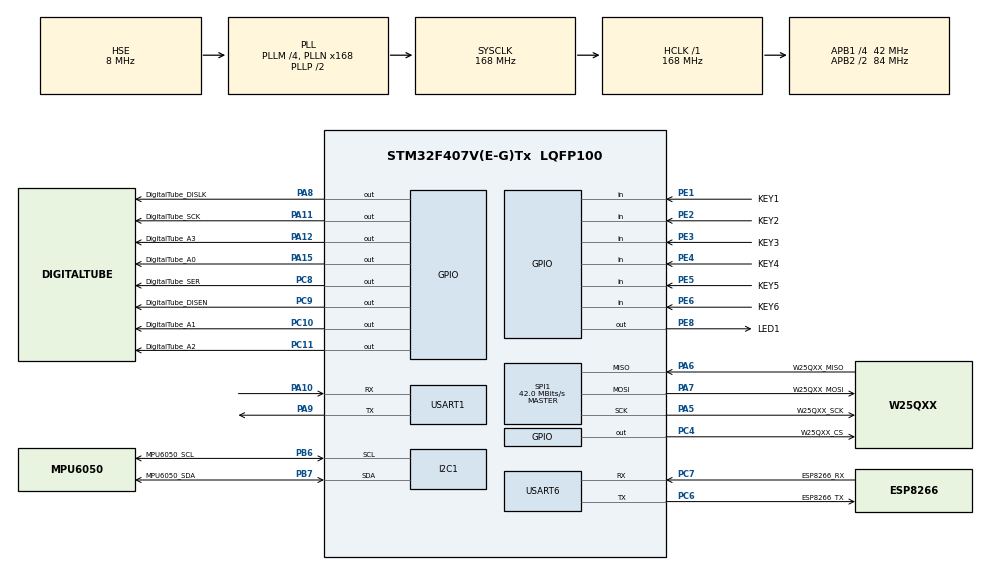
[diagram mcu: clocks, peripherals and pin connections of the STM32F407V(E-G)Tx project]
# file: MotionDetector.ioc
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FATFS._MAX_SS=4096
FREERTOS.HEAP_NUMBER=3
FREERTOS.Tasks01=MainTask,32,256,StartMainTask,Default,NULL,Dynamic,NULL,NULL;KeyTask,24,2048,StartKeyTask,Default,NULL,Dynamic,NULL,NULL;DigitaTubeTask,32,256,StartDigitaTubeTask,Default,NULL,Dynamic,NULL,NULL;RTCTask,24,256,StartRTCTask,Default,NULL,Dynamic,NULL,NULL;SaveTask,24,2048,StartSaveTask,Default,NULL,Dynamic,NULL,NULL
FREERTOS.configTOTAL_HEAP_SIZE=80000
Mcu.Family=STM32F4
Mcu.Name=STM32F407V(E-G)Tx
Mcu.Package=LQFP100
NVIC.PriorityGroup=NVIC_PRIORITYGROUP_4
NVIC.TIM3_IRQn=true\:5\:0\:false\:false\:true\:true\:true\:true
NVIC.TIM8_TRG_COM_TIM14_IRQn=true\:0\:0\:false\:false\:true\:false\:false\:true
NVIC.TimeBase=TIM8_TRG_COM_TIM14_IRQn
NVIC.TimeBaseIP=TIM14
NVIC.USART6_IRQn=true\:5\:0\:false\:false\:true\:true\:true\:true
PA10.Mode=Asynchronous
PA10.Signal=USART1_RX
PA11.GPIO_Label=DigitalTube_SCK
PA11.Signal=GPIO_Output
PA12.GPIO_Label=DigitalTube_A3
PA12.Signal=GPIO_Output
PA13.Mode=Serial_Wire
PA13.Signal=SYS_JTMS-SWDIO
PA14.Mode=Serial_Wire
PA14.Signal=SYS_JTCK-SWCLK
PA15.GPIO_Label=DigitalTube_A0
PA15.Signal=GPIO_Output
PA5.GPIO_Label=W25QXX_SCK
PA5.Mode=Full_Duplex_Master
PA5.Signal=SPI1_SCK
PA6.GPIO_Label=W25QXX_MISO
PA6.Mode=Full_Duplex_Master
PA6.Signal=SPI1_MISO
PA7.GPIO_Label=W25QXX_MOSI
PA7.Mode=Full_Duplex_Master
PA7.Signal=SPI1_MOSI
PA8.GPIO_Label=DigitalTube_DISLK
PA8.Signal=GPIO_Output
PA9.Mode=Asynchronous
PA9.Signal=USART1_TX
PB6.GPIO_Label=MPU6050_SCL
PB6.Mode=I2C
PB6.Signal=I2C1_SCL
PB7.GPIO_Label=MPU6050_SDA
PB7.Mode=I2C
PB7.Signal=I2C1_SDA
PC10.GPIO_Label=DigitalTube_A1
PC10.Signal=GPIO_Output
PC11.GPIO_Label=DigitalTube_A2
PC11.Signal=GPIO_Output
PC14-OSC32_IN.Mode=LSE-External-Oscillator
PC14-OSC32_IN.Signal=RCC_OSC32_IN
PC15-OSC32_OUT.Mode=LSE-External-Oscillator
PC15-OSC32_OUT.Signal=RCC_OSC32_OUT
PC4.GPIO_Label=W25QXX_CS
PC4.Signal=GPIO_Output
PC6.GPIO_Label=ESP8266_TX
PC6.Mode=Asynchronous
PC6.Signal=USART6_TX
PC7.GPIO_Label=ESP8266_RX
PC7.Mode=Asynchronous
PC7.Signal=USART6_RX
PC8.GPIO_Label=DigitalTube_SER
PC8.Signal=GPIO_Output
PC9.GPIO_Label=DigitalTube_DISEN
PC9.Signal=GPIO_Output
PE1.GPIO_Label=KEY1
PE1.GPIO_PuPd=GPIO_PULLUP
PE1.Signal=GPIO_Input
PE2.GPIO_Label=KEY2
PE2.GPIO_PuPd=GPIO_PULLUP
PE2.Signal=GPIO_Input
PE3.GPIO_Label=KEY3
PE3.GPIO_PuPd=GPIO_PULLUP
PE3.Signal=GPIO_Input
PE4.GPIO_Label=KEY4
PE4.GPIO_PuPd=GPIO_PULLUP
PE4.Signal=GPIO_Input
PE5.GPIO_Label=KEY5
PE5.GPIO_PuPd=GPIO_PULLDOWN
PE5.Signal=GPIO_Input
PE6.GPIO_Label=KEY6
PE6.GPIO_PuPd=GPIO_PULLDOWN
PE6.Signal=GPIO_Input
PE8.GPIO_Label=LED1
PE8.PinState=GPIO_PIN_SET
PE8.Signal=GPIO_Output
PH0-OSC_IN.Mode=HSE-External-Oscillator
PH0-OSC_IN.Signal=RCC_OSC_IN
PH1-OSC_OUT.Mode=HSE-External-Oscillator
PH1-OSC_OUT.Signal=RCC_OSC_OUT
ProjectManager.HeapSize=0x4000
ProjectManager.StackSize=0x4000
ProjectManager.TargetToolchain=STM32CubeIDE
RCC.48MHZClocksFreq_Value=84000000
RCC.AHBFreq_Value=168000000
RCC.APB1CLKDivider=RCC_HCLK_DIV4
RCC.APB1Freq_Value=42000000
RCC.APB1TimFreq_Value=84000000
RCC.APB2CLKDivider=RCC_HCLK_DIV2
RCC.APB2Freq_Value=84000000
RCC.APB2TimFreq_Value=168000000
RCC.CortexFreq_Value=168000000
RCC.HCLKFreq_Value=168000000
RCC.HSE_VALUE=8000000
RCC.HSI_VALUE=16000000
RCC.PLLM=4
RCC.PLLN=168
RCC.PLLSourceVirtual=RCC_PLLSOURCE_HSE
RCC.RCC_RTC_Clock_Source=RCC_RTCCLKSOURCE_LSE
RCC.RCC_RTC_Clock_SourceVirtual=RCC_RTCCLKSOURCE_LSE
RCC.SYSCLKFreq_VALUE=168000000
RCC.SYSCLKSource=RCC_SYSCLKSOURCE_PLLCLK
RCC.VCOOutputFreq_Value=336000000
RTC.Date=19
RTC.Format=RTC_FORMAT_BIN
RTC.Hours=1
RTC.Minutes=5
RTC.Month=RTC_MONTH_DECEMBER
RTC.WeekDay=RTC_WEEKDAY_SATURDAY
RTC.Year=20
SPI1.CalculateBaudRate=42.0 MBits/s
SPI1.Direction=SPI_DIRECTION_2LINES
SPI1.Mode=SPI_MODE_MASTER
SPI1.VirtualType=VM_MASTER
TIM3.Period=10000-1
TIM3.Prescaler=84-1
USART1.VirtualMode=VM_ASYNC
USART6.VirtualMode=VM_ASYNC
VP_FATFS_VS_Generic.Mode=User_defined
VP_FREERTOS_VS_CMSIS_V2.Mode=CMSIS_V2
VP_RTC_VS_RTC_Activate.Mode=RTC_Enabled
VP_RTC_VS_RTC_Calendar.Mode=RTC_Calendar
VP_SYS_VS_tim14.Mode=TIM14
VP_TIM3_VS_ClockSourceINT.Mode=Internal
board=custom

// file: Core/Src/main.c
/* USER CODE BEGIN Header */
/**
  ******************************************************************************
  * @file           : main.c
  * @brief          : Main program body
  ******************************************************************************
  * @attention
  *
  * <h2><center>&copy; Copyright (c) 2020 STMicroelectronics.
  * All rights reserved.</center></h2>
  *
  * This software component is licensed by ST under Ultimate Liberty license
  * SLA0044, the "License"; You may not use this file except in compliance with
  * the License. You may obtain a copy of the License at:
  *                             www.st.com/SLA0044
  *
  ******************************************************************************
  */
/* USER CODE END Header */
#include "main.h"
#include "cmsis_os.h"
#include "fatfs.h"
#include "i2c.h"
#include "rtc.h"
#include "spi.h"
#include "tim.h"
#include "usart.h"
#include "gpio.h"

/* USER CODE BEGIN Includes */
#include <stdbool.h>
#include <stdio.h>
/* USER CODE END Includes */

/* USER CODE BEGIN PV */
uint32_t g_time_count = 0;//单位：百分秒
/* USER CODE END PV */

void SystemClock_Config(void);
void MX_FREERTOS_Init(void);

/* USER CODE BEGIN 0 */
void FS_Init(bool breset) //breset=true就重新生成新的文件
{
    BYTE work[4096]; // FATFS工作缓冲区
    FATFS fs;//文件系统对象
    FIL fil;//文件对象
    FRESULT res;//操作返回结果

    res = f_mount(&fs, "0:", 1);
    if (res == 0X0D) { // FLASH磁盘,FAT文件系统错误，重新格式化FLASH
        printf("Flash Disk Formatting...\r\n");//格式化FLASH
        res = f_mkfs("0:", FM_ANY, 0, work, sizeof(work));
        if (res != FR_OK) {
            printf("mkfs error.\r\n");
        }
    }
    if (res == FR_OK) {
        printf("FATFS Init ok!\r\n");
    }

    if (breset) {
        res = f_open(&fil, "0:/time.txt", FA_CREATE_ALWAYS);
    } else {
        res = f_open(&fil, "0:/time.txt", FA_CREATE_NEW);
    }
    if (res != FR_OK && res != FR_EXIST) {
        printf("create file error.\r\n");
    } else {
        printf("create time.txt ok\r\n");
        f_close(&fil);
    }

    if (breset) {
        res = f_open(&fil, "0:/para.txt", FA_CREATE_ALWAYS);
    } else {
        res = f_open(&fil, "0:/para.txt", FA_CREATE_NEW);
    }
    if (res != FR_OK && res != FR_EXIST) {
        printf("create file error.\r\n");
    } else {
        printf("create para.txt ok\r\n");
        f_close(&fil);
    }

    if (breset) {
        res = f_open(&fil, "0:/data.txt", FA_CREATE_ALWAYS);
    } else {
        res = f_open(&fil, "0:/data.txt", FA_CREATE_NEW);
    }
    if (res != FR_OK && res != FR_EXIST) {
        printf("create file error.\r\n");
    } else {
        printf("create data.txt ok\r\n");
        f_close(&fil);
    }
}
/* USER CODE END 0 */

int main(void)
{

  /* MCU Configuration--------------------------------------------------------*/

  /* Reset of all peripherals, Initializes the Flash interface and the Systick. */
  HAL_Init();

  /* Configure the system clock */
  SystemClock_Config();

  /* Initialize all configured peripherals */
  MX_GPIO_Init();
  MX_I2C1_Init();
  MX_USART1_UART_Init();
  MX_USART6_UART_Init();
  MX_TIM3_Init();
  MX_RTC_Init();
  MX_SPI1_Init();
  MX_FATFS_Init();
  /* USER CODE BEGIN 2 */
    HAL_Delay(1000);
    FS_Init(false);
  /* USER CODE END 2 */

  /* Init scheduler */
  osKernelInitialize();  /* Call init function for freertos objects (in freertos.c) */
  MX_FREERTOS_Init();
  /* Start scheduler */
  osKernelStart();

  /* We should never get here as control is now taken by the scheduler */
  /* Infinite loop */
    while (1)
    {

    }
}

void SystemClock_Config(void)
{
  RCC_OscInitTypeDef RCC_OscInitStruct = {0};
  RCC_ClkInitTypeDef RCC_ClkInitStruct = {0};
  RCC_PeriphCLKInitTypeDef PeriphClkInitStruct = {0};

  /** Configure the main internal regulator output voltage
  */
  __HAL_RCC_PWR_CLK_ENABLE();
  __HAL_PWR_VOLTAGESCALING_CONFIG(PWR_REGULATOR_VOLTAGE_SCALE1);
  /** Initializes the RCC Oscillators according to the specified parameters
  * in the RCC_OscInitTypeDef structure.
  */
  RCC_OscInitStruct.OscillatorType = RCC_OSCILLATORTYPE_HSE|RCC_OSCILLATORTYPE_LSE;
  RCC_OscInitStruct.HSEState = RCC_HSE_ON;
  RCC_OscInitStruct.LSEState = RCC_LSE_ON;
  RCC_OscInitStruct.PLL.PLLState = RCC_PLL_ON;
  RCC_OscInitStruct.PLL.PLLSource = RCC_PLLSOURCE_HSE;
  RCC_OscInitStruct.PLL.PLLM = 4;
  RCC_OscInitStruct.PLL.PLLN = 168;
  RCC_OscInitStruct.PLL.PLLP = RCC_PLLP_DIV2;
  RCC_OscInitStruct.PLL.PLLQ = 4;
  if (HAL_RCC_OscConfig(&RCC_OscInitStruct) != HAL_OK)
  {
    Error_Handler();
  }
  /** Initializes the CPU, AHB and APB buses clocks
  */
  RCC_ClkInitStruct.ClockType = RCC_CLOCKTYPE_HCLK|RCC_CLOCKTYPE_SYSCLK
                              |RCC_CLOCKTYPE_PCLK1|RCC_CLOCKTYPE_PCLK2;
  RCC_ClkInitStruct.SYSCLKSource = RCC_SYSCLKSOURCE_PLLCLK;
  RCC_ClkInitStruct.AHBCLKDivider = RCC_SYSCLK_DIV1;
  RCC_ClkInitStruct.APB1CLKDivider = RCC_HCLK_DIV4;
  RCC_ClkInitStruct.APB2CLKDivider = RCC_HCLK_DIV2;

  if (HAL_RCC_ClockConfig(&RCC_ClkInitStruct, FLASH_LATENCY_5) != HAL_OK)
  {
    Error_Handler();
  }
  PeriphClkInitStruct.PeriphClockSelection = RCC_PERIPHCLK_RTC;
  PeriphClkInitStruct.RTCClockSelection = RCC_RTCCLKSOURCE_LSE;
  if (HAL_RCCEx_PeriphCLKConfig(&PeriphClkInitStruct) != HAL_OK)
  {
    Error_Handler();
  }
}

 /**
  * @brief  Period elapsed callback in non blocking mode
  * @note   This function is called  when TIM14 interrupt took place, inside
  * HAL_TIM_IRQHandler(). It makes a direct call to HAL_IncTick() to increment
  * a global variable "uwTick" used as application time base.
  * @param  htim : TIM handle
  * @retval None
  */
void HAL_TIM_PeriodElapsedCallback(TIM_HandleTypeDef *htim)
{
  if (htim->Instance == TIM14) {
    HAL_IncTick();
  }
  /* USER CODE BEGIN Callback 1 */
    if (htim->Instance == TIM3) {
        g_time_count++;
    }
  /* USER CODE END Callback 1 */
}

void Error_Handler(void)
{
  /* USER CODE BEGIN Error_Handler_Debug */
    /* User can add his own implementation to report the HAL error return state */
//    __disable_irq();
//    while (1)
//    {
//    }
  /* USER CODE END Error_Handler_Debug */
}

/************************ (C) COPYRIGHT STMicroelectronics *****END OF FILE****/

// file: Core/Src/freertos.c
/* USER CODE BEGIN Header */
/**
  ******************************************************************************
  * File Name          : freertos.c
  * Description        : Code for freertos applications
  ******************************************************************************
  * @attention
  *
  * <h2><center>&copy; Copyright (c) 2020 STMicroelectronics.
  * All rights reserved.</center></h2>
  *
  * This software component is licensed by ST under Ultimate Liberty license
  * SLA0044, the "License"; You may not use this file except in compliance with
  * the License. You may obtain a copy of the License at:
  *                             www.st.com/SLA0044
  *
  ******************************************************************************
  */
/* USER CODE END Header */

#include "FreeRTOS.h"
#include "task.h"
#include "main.h"
#include "cmsis_os.h"

/* USER CODE BEGIN Includes */
#include <stdio.h>
#include <stdbool.h>
#include <string.h>
#include <stdlib.h>
#include "MPU6050.h"
#include "ESP8266.h"
#include "usart.h"
#include "tim.h"
#include "DigitalTube.h"
#include "rtc.h"
#include "fatfs.h"
#include "w25qxx.h"
/* USER CODE END Includes */

/* USER CODE BEGIN PD */
//WIFI配置
#define WIFI_NAME       "MotionDetector"
#define WIFI_PASSWD     "12345678"
#define UDP_IP          "192.168.4.2"
#define UDP_PORT        9000
//W25QXX FLASH
#define FLASH_BUF_MAX 100
/* USER CODE END PD */

/* USER CODE BEGIN Variables */
extern uint32_t g_time_count;

uint8_t g_seg_show = 2;//数码管默认显示秒、百分秒
int g_timetxt_count = 0;//记录时间的文件数据个数
bool g_mpu_start = false;//开始读取
bool g_mpu_save = false;//一个缓冲区存满可以存到flash中
bool g_mpu_end = false;//最后结束的一部分缓冲区存入flash
uint8_t g_mpu_data_save_dir = 1;//双缓冲存储 flash存储100组数据大概1.5s
char g_mpu_data_buf1[FLASH_BUF_MAX][150];
char g_mpu_data_buf2[FLASH_BUF_MAX][150];
int g_mpu_data_index_1 = 0;
int g_mpu_data_index_2 = 0;
int g_mpu_data_save_num = 0;//测试
int g_mpu_data_read_num = 0;

bool g_wifi_udp_en = false;
/* USER CODE END Variables */
/* Definitions for MainTask */
osThreadId_t MainTaskHandle;
const osThreadAttr_t MainTask_attributes = {
        .name = "MainTask",
        .priority = (osPriority_t) osPriorityAboveNormal,
        .stack_size = 256 * 4
};
/* Definitions for KeyTask */
osThreadId_t KeyTaskHandle;
const osThreadAttr_t KeyTask_attributes = {
        .name = "KeyTask",
        .priority = (osPriority_t) osPriorityNormal,
        .stack_size = 2048 * 4
};
/* Definitions for DigitaTubeTask */
osThreadId_t DigitaTubeTaskHandle;
const osThreadAttr_t DigitaTubeTask_attributes = {
        .name = "DigitaTubeTask",
        .priority = (osPriority_t) osPriorityAboveNormal,
        .stack_size = 256 * 4
};
/* Definitions for RTCTask */
osThreadId_t RTCTaskHandle;
const osThreadAttr_t RTCTask_attributes = {
        .name = "RTCTask",
        .priority = (osPriority_t) osPriorityNormal,
        .stack_size = 256 * 4
};
/* Definitions for SaveTask */
osThreadId_t SaveTaskHandle;
const osThreadAttr_t SaveTask_attributes = {
        .name = "SaveTask",
        .priority = (osPriority_t) osPriorityNormal,
        .stack_size = 2048 * 4
};

/* USER CODE BEGIN FunctionPrototypes */
void SaveTime(void);

void PrintfTime(void);

void SavePara(void);

void LoadPara(void);

void SaveData(void);

void PrintfData(void);

/* USER CODE END FunctionPrototypes */

void StartMainTask(void *argument);

void StartKeyTask(void *argument);

void StartDigitaTubeTask(void *argument);

void StartRTCTask(void *argument);

void StartSaveTask(void *argument);

void MX_FREERTOS_Init(void); /* (MISRA C 2004 rule 8.1) */

void MX_FREERTOS_Init(void) {

    /* Create the thread(s) */
    /* creation of MainTask */
    MainTaskHandle = osThreadNew(StartMainTask, NULL, &MainTask_attributes);

    /* creation of KeyTask */
    KeyTaskHandle = osThreadNew(StartKeyTask, NULL, &KeyTask_attributes);

    /* creation of DigitaTubeTask */
    DigitaTubeTaskHandle = osThreadNew(StartDigitaTubeTask, NULL, &DigitaTubeTask_attributes);

    /* creation of RTCTask */
    RTCTaskHandle = osThreadNew(StartRTCTask, NULL, &RTCTask_attributes);

    /* creation of SaveTask */
    SaveTaskHandle = osThreadNew(StartSaveTask, NULL, &SaveTask_attributes);

}

void StartMainTask(void *argument) {
    /* USER CODE BEGIN StartMainTask */
    uint32_t save_tick = 0;
    uint32_t print_tick = 0;
    char mpu_data[150];
    char send_data[150] = {0};

    float SelfTest[6];               // Gyro and accelerometer self-test sensor output
    float aRes, gRes;                // scale resolutions per LSB for the sensors
    int16_t accelCount[3];           // Stores the 16-bit signed accelerometer sensor output
    float ax, ay, az;                // Stores the real accel value in g's
    int16_t gyroCount[3];            // Stores the 16-bit signed gyro sensor output
    float gx, gy, gz;                // Stores the real gyro value in degrees per seconds
    float gyroBias[3], accelBias[3]; // Bias corrections for gyro and accelerometer
    int16_t tempCount;               // Stores the internal chip temperature sensor output
    float temperature;               // Scaled temperature in degrees Celsius

    if (MPU6050_Check() == MPU6050_ADDRESS) {
        MPU6050_SelfTest(SelfTest); // Start by performing self test and reporting values
        printf("x-axis self test: acceleration trim within : ");
        printf("%.1f", SelfTest[0]);
        printf("%% of factory value\r\n");
        printf("y-axis self test: acceleration trim within : ");
        printf("%.1f", SelfTest[1]);
        printf("%% of factory value\r\n");
        printf("z-axis self test: acceleration trim within : ");
        printf("%.1f", SelfTest[2]);
        printf("%% of factory value\r\n");
        printf("x-axis self test: gyration trim within : ");
        printf("%.1f", SelfTest[3]);
        printf("%% of factory value\r\n");
        printf("y-axis self test: gyration trim within : ");
        printf("%.1f", SelfTest[4]);
        printf("%% of factory value\r\n");
        printf("z-axis self test: gyration trim within : ");
        printf("%.1f", SelfTest[5]);
        printf("%% of factory value\r\n");

        if (SelfTest[0] < 1.0f && SelfTest[1] < 1.0f && SelfTest[2] < 1.0f && SelfTest[3] < 1.0f &&
            SelfTest[4] < 1.0f && SelfTest[5] < 1.0f) {
            printf("Pass Selftest!\r\n");

            MPU6050_calibrate(gyroBias, accelBias); // Calibrate gyro and accelerometers, load biases in bias registers
            MPU6050_init();
            printf("MPU6050 initialized for active data mode....\r\n"); // Initialize device for active mode read of acclerometer, gyroscope, and temperature
        } else {
            printf("Could not connect to MPU6050\r\n");
        }
    }

    HAL_UART_Receive_IT(&huart6, &rx_byte, 1);

    if (ESP8266_Init()) {
        printf("ESP8266 Init OK!\r\n");
    } else {
        printf("ESP8266 Init FAIL!\r\n");
    }

    if (ESP8266_AP(WIFI_NAME, WIFI_PASSWD)) {
        printf("ESP8266 Create AP OK!\r\n");
    } else {
        printf("ESP8266 Create AP FAIL!\r\n");
    }
    printf("Press K5 to Create UDP.\r\n");
    /* Infinite loop */
    for (;;) {
        if (g_mpu_start == true) {
            if (osKernelGetTickCount() - save_tick >= 50) {
                save_tick = osKernelGetTickCount();
                if (MPU6050_readByte(MPU6050_ADDRESS, INT_STATUS) & 0x01) {  // check if data ready interrupt
                    MPU6050_readAccelData(accelCount);  // Read the x/y/z adc values
                    aRes = MPU6050_getAres();

                    // Now we'll calculate the accleration value into actual g's
                    ax = (float) accelCount[0] * aRes -
                         accelBias[0];  // get actual g value, this depends on scale being set
                    ay = (float) accelCount[1] * aRes - accelBias[1];
                    az = (float) accelCount[2] * aRes - accelBias[2];

                    MPU6050_readGyroData(gyroCount);  // Read the x/y/z adc values
                    gRes = MPU6050_getGres();

                    // Calculate the gyro value into actual degrees per second
                    gx = (float) gyroCount[0] * gRes -
                         gyroBias[0];  // get actual gyro value, this depends on scale being set
                    gy = (float) gyroCount[1] * gRes - gyroBias[1];
                    gz = (float) gyroCount[2] * gRes - gyroBias[2];

                    tempCount = MPU6050_readTempData();  // Read the x/y/z adc values
                    temperature = ((float) tempCount) / 340. + 36.53; // Temperature in degrees Centigrade

                    uint8_t test_min = (g_time_count / 100) / 60;
                    uint8_t test_sec = (g_time_count / 100) % 60;
                    uint8_t test_sec_100 = g_time_count % 100;
                    sprintf(mpu_data,
                            "ax:%6.1f mg, ay:%6.1f mg, az:%6.1f mg  gx:%6.1f deg/s, gy:%6.1f deg/s, gz:%6.1f deg/s  (%02d:%02d:%02d)\r\n",
                            1000 * ax, 1000 * ay, 1000 * az, gx, gy, gz, test_min, test_sec, test_sec_100);
                    if (g_mpu_data_save_dir == 1) {
                        strcpy(g_mpu_data_buf1[g_mpu_data_index_1], mpu_data);
                        if (g_mpu_data_index_1 < FLASH_BUF_MAX - 1) {
                            g_mpu_data_index_1++;
                        } else {
                            g_mpu_data_index_1 = 0;
                            g_mpu_data_save_dir = 2;
                            g_mpu_save = true;
                        }
                    } else if (g_mpu_data_save_dir == 2) {
                        strcpy(g_mpu_data_buf2[g_mpu_data_index_2], mpu_data);
                        if (g_mpu_data_index_2 < FLASH_BUF_MAX - 1) {
                            g_mpu_data_index_2++;
                        } else {
                            g_mpu_data_index_2 = 0;
                            g_mpu_data_save_dir = 1;
                            g_mpu_save = true;
                        }
                    }
                }
            }

            if (osKernelGetTickCount() - print_tick >= 500) {//500ms
                print_tick = osKernelGetTickCount();
                uint8_t test_min = (g_time_count / 100) / 60;
                uint8_t test_sec = (g_time_count / 100) % 60;
                uint8_t test_sec_100 = g_time_count % 100;
                sprintf(send_data,
                        "HDU;%02d:%02d:%02d;%.1f;%.1f;%.1f;%.1f;%.1f;%.1f",
                        test_min, test_sec, test_sec_100, 1000 * ax, 1000 * ay, 1000 * az, gx, gy, gz);
                printf("%s\r\n", send_data);
                if (g_wifi_udp_en == true) {
                    ESP8266_UDP_Send(send_data);
                }
            }
        }
        osDelay(1);
    }
    /* USER CODE END StartMainTask */
}

void StartKeyTask(void *argument) {
    /* USER CODE BEGIN StartKeyTask */
    uint8_t key_state;
    bool wifi_udp_flag = true;

    W25QXX_Init();
    printf("W25QXX FLASH ID = 0x%04X\r\n", W25QXX_ReadID());
    LoadPara();
    /* Infinite loop */
    for (;;) {
        //扫描按键
        key_state = 0;
        if (HAL_GPIO_ReadPin(KEY1_GPIO_Port, KEY1_Pin) == GPIO_PIN_RESET) {
            osDelay(10);
            if (HAL_GPIO_ReadPin(KEY1_GPIO_Port, KEY1_Pin) == GPIO_PIN_RESET) {
                key_state = 1;
            }
            while (HAL_GPIO_ReadPin(KEY1_GPIO_Port, KEY1_Pin) == GPIO_PIN_RESET) {
                osDelay(1);
            }
        } else if (HAL_GPIO_ReadPin(KEY2_GPIO_Port, KEY2_Pin) == GPIO_PIN_RESET) {
            osDelay(10);
            if (HAL_GPIO_ReadPin(KEY2_GPIO_Port, KEY2_Pin) == GPIO_PIN_RESET) {
                key_state = 2;
            }
            while (HAL_GPIO_ReadPin(KEY2_GPIO_Port, KEY2_Pin) == GPIO_PIN_RESET) {
                osDelay(1);
            }
        } else if (HAL_GPIO_ReadPin(KEY3_GPIO_Port, KEY3_Pin) == GPIO_PIN_RESET) {
            osDelay(10);
            if (HAL_GPIO_ReadPin(KEY3_GPIO_Port, KEY3_Pin) == GPIO_PIN_RESET) {
                key_state = 3;
            }
            while (HAL_GPIO_ReadPin(KEY3_GPIO_Port, KEY3_Pin) == GPIO_PIN_RESET) {
                osDelay(1);
            }
        } else if (HAL_GPIO_ReadPin(KEY4_GPIO_Port, KEY4_Pin) == GPIO_PIN_RESET) {
            osDelay(10);
            if (HAL_GPIO_ReadPin(KEY4_GPIO_Port, KEY4_Pin) == GPIO_PIN_RESET) {
                key_state = 4;
            }
            while (HAL_GPIO_ReadPin(KEY4_GPIO_Port, KEY4_Pin) == GPIO_PIN_RESET) {
                osDelay(1);
            }
        } else if (HAL_GPIO_ReadPin(KEY5_GPIO_Port, KEY5_Pin) == GPIO_PIN_SET) {
            osDelay(10);
            if (HAL_GPIO_ReadPin(KEY5_GPIO_Port, KEY5_Pin) == GPIO_PIN_SET) {
                key_state = 5;
            }
            while (HAL_GPIO_ReadPin(KEY5_GPIO_Port, KEY5_Pin) == GPIO_PIN_SET) {
                osDelay(1);
            }
        } else if (HAL_GPIO_ReadPin(KEY6_GPIO_Port, KEY6_Pin) == GPIO_PIN_SET) {
            osDelay(10);
            if (HAL_GPIO_ReadPin(KEY6_GPIO_Port, KEY6_Pin) == GPIO_PIN_SET) {
                key_state = 6;
            }
            while (HAL_GPIO_ReadPin(KEY6_GPIO_Port, KEY6_Pin) == GPIO_PIN_SET) {
                osDelay(1);
            }
        }

        //按键触发控制
        switch (key_state) {
            case 1://读取测试时间记录
                PrintfTime();
                break;
            case 2:
                g_seg_show = 1;//数码管显示分、秒
                break;
            case 3:
                g_seg_show = 2;//数码管显示秒、百分秒
                break;
            case 4:
                PrintfData();
                break;
            case 5://建立UDP，清零并开始计时
                if (wifi_udp_flag == true) {
                    wifi_udp_flag = false;
                    if (ESP8266_UDP_Connect(UDP_IP, UDP_PORT)) {
                        printf("ESP8266 Create UDP OK!\r\n");
                        g_wifi_udp_en = true;
                    } else {
                        printf("ESP8266 Create UDP FAIL!\r\n");
                    }
                    printf("Now press K5 to start.\r\n");
                } else {
                    g_time_count = 0;
                    f_unlink("0:/data.txt");
                    g_mpu_data_save_dir = 1;
                    g_mpu_data_index_1 = 0;
                    g_mpu_data_index_2 = 0;
                    g_mpu_data_save_num = 0;
                    HAL_TIM_Base_Start_IT(&htim3);
                    g_mpu_start = true;
                }
                break;
            case 6://停止计时并记录
                HAL_TIM_Base_Stop_IT(&htim3);
                g_mpu_start = false;
                g_mpu_end = true;
                char send_data[10];
                sprintf(send_data, "STOP");
                printf("%s\r\n", send_data);
                ESP8266_UDP_Send(send_data);
                if (g_timetxt_count >= 100) {//大于100个数据时覆盖文件
                    HAL_GPIO_WritePin(LED1_GPIO_Port, LED1_Pin, GPIO_PIN_RESET);
                    f_unlink("0:/time.txt");
                    printf("The time record data has exceeded 100. This file has been overwritten for you.\r\n");
                    g_timetxt_count = 0;
                    osDelay(1000);
                    HAL_GPIO_WritePin(LED1_GPIO_Port, LED1_Pin, GPIO_PIN_SET);
                } else {
                    SaveTime();
                    g_timetxt_count++;
                    SavePara();
                    printf("Save time OK! Now time.txt have %d data.\r\n", g_timetxt_count);
                }
                break;
            default:
                break;
        }
        osDelay(1);
    }
    /* USER CODE END StartKeyTask */
}

void StartDigitaTubeTask(void *argument) {
    /* USER CODE BEGIN StartDigitaTubeTask */
    uint8_t seg[4] = {0};
    /* Infinite loop */
    for (;;) {
        if (g_seg_show == 1) {//分、秒
            seg[0] = ((g_time_count / 100) / 60) / 10;
            seg[1] = ((g_time_count / 100) / 60) % 10;
            seg[2] = ((g_time_count / 100) % 60) / 10;
            seg[3] = ((g_time_count / 100) % 60) % 10;
        } else if (g_seg_show == 2) {//秒、百分秒
            seg[0] = ((g_time_count / 100) % 60) / 10;
            seg[1] = ((g_time_count / 100) % 60) % 10;
            seg[2] = (g_time_count % 100) / 10;
            seg[3] = g_time_count % 10;
        }
        for (int i = 0; i < 4; ++i) {
            if (i == 1 && osKernelGetTickCount() % 1000 < 500) {
                Write595(i, seg[i], 1);
            } else {
                Write595(i, seg[i], 0);
            }
            osDelay(5);
        }
    }
    /* USER CODE END StartDigitaTubeTask */
}

void StartRTCTask(void *argument) {
    /* USER CODE BEGIN StartRTCTask */
    uint32_t tick = 0;
    /* Infinite loop */
    for (;;) {
        if (osKernelGetTickCount() - tick >= 1000) {
            tick = osKernelGetTickCount();
            ReadRTCDateTime();
        }
        osDelay(1);
    }
    /* USER CODE END StartRTCTask */
}

void StartSaveTask(void *argument) {
    /* USER CODE BEGIN StartSaveTask */
    /* Infinite loop */
    for (;;) {
        if (g_mpu_save == true) {
            SaveData();
            g_mpu_save = false;
        } else if (g_mpu_end == true) {
            SaveData();
            g_mpu_end = false;
            printf("Save MPU Data OK!\r\n");
        }
        osDelay(1);
    }
    /* USER CODE END StartSaveTask */
}

/* USER CODE BEGIN Application */
void SaveTime(void) {
    FIL fil;//文件对象
    FRESULT res;//操作返回结果
    char buf[100];

    res = f_open(&fil, "0:/time.txt", FA_OPEN_ALWAYS | FA_WRITE | FA_OPEN_APPEND);
    if (res != FR_OK) {
        printf("open file error.\r\n");
    } else {
        uint8_t test_min = (g_time_count / 100) / 60;
        uint8_t test_sec = (g_time_count / 100) % 60;
        uint8_t test_sec_100 = g_time_count % 100;
        sprintf(buf, "Test Time:%02d:%02d:%02d (%4d.%2d.%2d %02d:%02d:%02d)\r\n", test_min, test_sec, test_sec_100,
                RTC_Year, RTC_Mon, RTC_Dat, RTC_Hour,
                RTC_Min, RTC_Sec);
        f_puts(buf, &fil);
        f_close(&fil);
    }
}

void PrintfTime(void) {
    FIL fil;//文件对象
    FRESULT res;//操作返回结果
    char buf[100];

    res = f_open(&fil, "0:/time.txt", FA_READ | FA_OPEN_ALWAYS);
    if (res != FR_OK) {
        printf("open file error.\r\n");
    } else {
        f_lseek(&fil, 0);
        while (f_gets(buf, 100, &fil)) {
            printf("%s", buf);
        }
        f_close(&fil);
    }
}

void SavePara(void) {
    FIL fil;//文件对象
    FRESULT res;//操作返回结果

    res = f_open(&fil, "0:/para.txt", FA_WRITE | FA_OPEN_ALWAYS);
    if (res != FR_OK) {
        printf("open file error.\r\n");
    } else {
        f_lseek(&fil, 0);
        f_printf(&fil, "time.txt count:%d\r\n", g_timetxt_count);
        f_close(&fil);
    }
}

void LoadPara(void) {
    FIL fil;//文件对象
    FRESULT res;//操作返回结果
    char buf[50];

    res = f_open(&fil, "0:/para.txt", FA_READ | FA_OPEN_ALWAYS);
    if (res != FR_OK) {
        printf("open file error.\r\n");
    } else {
        f_lseek(&fil, 0);
        while (f_gets(buf, 50, &fil)) {
            if (strstr(buf, "time.txt count:") != NULL) {
                g_timetxt_count = atoi(buf + 15);
            } else {
                printf("load error!\r\n");
            }
        }
        f_close(&fil);
    }
}

void SaveData(void) {
    FIL fil;//文件对象
    FRESULT res;//操作返回结果

    res = f_open(&fil, "0:/data.txt", FA_OPEN_ALWAYS | FA_WRITE | FA_OPEN_APPEND);
    if (res != FR_OK) {
        printf("open file error.\r\n");
    } else {
        for (int i = 0; i < FLASH_BUF_MAX; ++i) {
            g_mpu_data_save_num++;
            if (g_mpu_end == false) {
                if (g_mpu_data_save_dir == 1) {
                    f_puts(g_mpu_data_buf2[i], &fil);
                } else if (g_mpu_data_save_dir == 2) {
                    f_puts(g_mpu_data_buf1[i], &fil);
                }
            } else {
                if (g_mpu_data_save_dir == 1) {
                    f_puts(g_mpu_data_buf1[i], &fil);
                    if (i == g_mpu_data_index_1 - 1) {
                        break;
                    }
                } else if (g_mpu_data_save_dir == 2) {
                    f_puts(g_mpu_data_buf2[i], &fil);
                    if (i == g_mpu_data_index_2 - 1) {
                        break;
                    }
                }
            }
        }
        f_close(&fil);
    }
}

void PrintfData(void) {
    FIL fil;//文件对象
    FRESULT res;//操作返回结果
    char buf[150];

    res = f_open(&fil, "0:/data.txt", FA_READ | FA_OPEN_ALWAYS);
    if (res != FR_OK) {
        printf("open file error.\r\n");
    } else {
        f_lseek(&fil, 0);
        while (f_gets(buf, 150, &fil)) {
            printf("%s", buf);
            g_mpu_data_read_num++;
        }
        printf("save data num:%d, read data num:%d\r\n", g_mpu_data_save_num, g_mpu_data_read_num);
        if (g_mpu_data_save_num == g_mpu_data_read_num) {
            printf("all data is saved.\r\n");
        } else {
            printf("not all data is saved, please check it.\r\n");
        }
        g_mpu_data_read_num = 0;

        f_close(&fil);
    }
}
/* USER CODE END Application */

/************************ (C) COPYRIGHT STMicroelectronics *****END OF FILE****/
